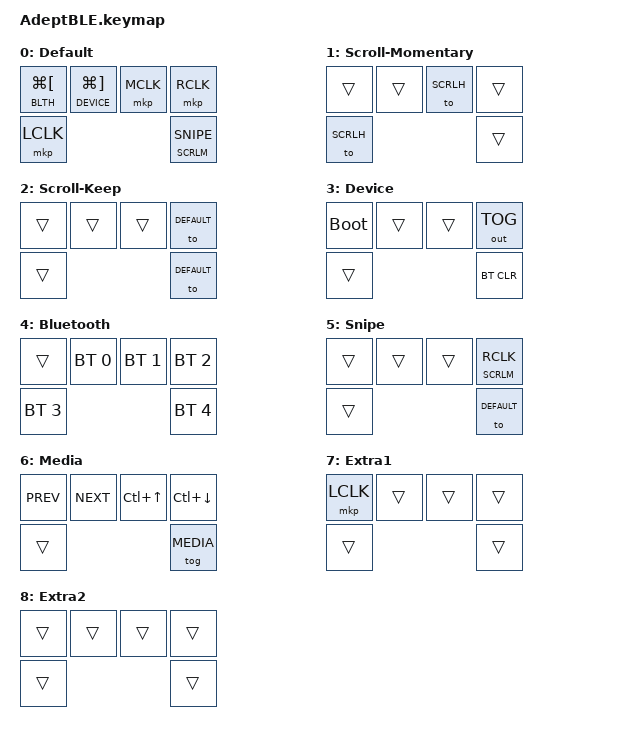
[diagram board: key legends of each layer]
#include <behaviors.dtsi>
#include <dt-bindings/zmk/bt.h>
#include <dt-bindings/zmk/keys.h>
#include <dt-bindings/zmk/pointing.h>
#include <dt-bindings/zmk/outputs.h>
#define ZMK_POINTING_DEFAULT_MOVE_VAL 800  // default: 600
#define ZMK_POINTING_DEFAULT_SCRL_VAL 12    // default: 10

//#include <dt-bindings/zmk/mouse.h>

#define BACK LG(LBKT)
#define FWD  LG(RBKT)

#define UNDO_    &kp LG(Z)
#define CUT_     &kp LG(X)
#define COPY_    &kp LG(C)
#define PASTE_   &kp LG(V)
#define REDO_    &kp LS(LG(Z))
#define MISS_CTL &kp LC(UP)
#define EXPOSE   &kp LC(DOWN)
#define DEFAULT 0
#define SCRLM 1
#define SCRLH 2
#define DEVICE 3
#define BLTH 4
#define SNIPE 5
#define MEDIA 6

/ {
  combos {
    compatible = "zmk,combos";
    combo_esc {
      timeout-ms = <50>;
      key-positions = <2 3>;
      bindings = <&mkp RCLK>;
    };
    combo_copy {
      timeout-ms = <50>;
      key-positions = <3 4>;
      bindings = <&kp LG(C)>;
    };
    combo_paste {
      timeout-ms = <50>;
      key-positions = <4 5>;
      bindings = <&kp LG(V)>;
    };
    combo_cut {
      timeout-ms = <50>;
      key-positions = <0 1>;
      layers = <DEFAULT>;
      bindings = <&kp LG(X)>;
    };
    combo_media_layer_toggle {
      timeout-ms = <100>;
      key-positions = <0 4>;
      bindings = <&tog MEDIA>;
    };
    combo_media_play_pause {
      timeout-ms = <50>;
      key-positions = <0 1>;
      layers = <MEDIA>;
      bindings = <&kp C_PP>;
    };
  };

  behaviors {
    ltm: layer-tap-momentary {
      compatible = "zmk,behavior-hold-tap";
      #binding-cells = <2>;
      flavor = "tap-preferred";
      tapping-term-ms = <200>;
      bindings = <&mo>, <&kp>;
    };
    lth: layer-tap-hold-while-undecided {
      compatible = "zmk,behavior-hold-tap";
      #binding-cells = <2>;
      flavor = "hold-preferred";
      hold-while-undecided;
      tapping-term-ms = <150>;
      bindings = <&mo>, <&mkp>;
    };
    mto: momentary-or-toggle {
      compatible = "zmk,behavior-hold-tap";
      #binding-cells = <2>;
      flavor = "hold-preferred";
      hold-while-undecided;
      tapping-term-ms = <200>;
      bindings = <&mo>, <&to>;
    };
  };

  keymap {
    compatible = "zmk,keymap";
    default_layer {
      display-name = "Default";
      bindings = <
        &ltm BLTH BACK  &ltm DEVICE FWD   &mkp MCLK     &mkp RCLK
        &mkp LCLK                                       &mto SCRLM SNIPE
      >;
    };
    scroll_tap_layer {
      display-name = "Scroll-Momentary";
      bindings = <
        &trans          &trans            &to SCRLH     &trans
        &to SCRLH                                       &trans
      >;
    };
    scroll_hold_layer {
      display-name = "Scroll-Keep";
      bindings = <
        &trans          &trans            &trans        &to DEFAULT
        &trans                                          &to DEFAULT
      >;
    };
    device_layer {
      display-name = "Device";
      bindings = <
        &bootloader     &trans            &trans        &out OUT_TOG
        &trans                                          &bt BT_CLR
      >;
    };
    bluetooth_layer {
      display-name = "Bluetooth";
      bindings = <
        &trans          &bt BT_SEL 0      &bt BT_SEL 1  &bt BT_SEL 2
        &bt BT_SEL 3                                    &bt BT_SEL 4
      >;
    };
    snipe_layer {
      display-name = "Snipe";
      bindings = <
        &trans          &trans            &trans        &lth SCRLM RCLK
        &trans                                          &to DEFAULT
      >;
    };
    media_layer {
      display-name = "Media";
      bindings = <
        &kp C_PREV      &kp C_NEXT        MISS_CTL      EXPOSE
        &trans                                          &tog MEDIA
      >;
    };
        extra1 {
      display-name = "Extra1";
      bindings = <
       &mkp LCLK    &trans    &trans    &trans
        &trans                        &trans
      >;
    };

    extra2 {
      display-name = "Extra2";
      bindings = <
        &trans    &trans    &trans    &trans
        &trans                        &trans
      >;
    };
  };
}; 
